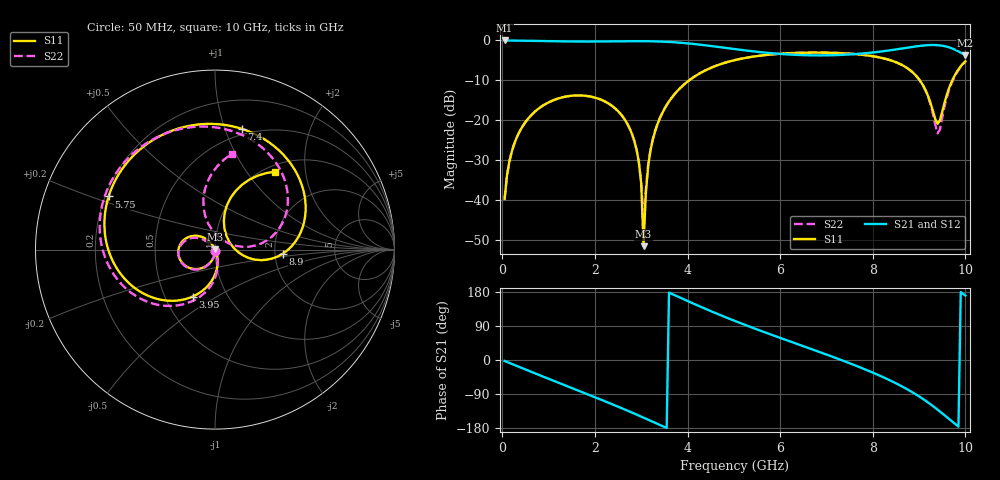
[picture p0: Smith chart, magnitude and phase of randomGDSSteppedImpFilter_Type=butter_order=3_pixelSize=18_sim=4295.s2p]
! freq	dB(S11)	phase(S11)	dB(S12)	phase(S12)
!  dB(S21)	phase(S21)	dB(S22)	phase(S22)
!S-par simulation data
#  GHz  S  DB  R 50
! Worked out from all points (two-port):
!   200 points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, 50 MHz to 10 GHz, reference 50 ohm
!   highest |S21| = -0.01 dB at 50 MHz (marker M1); lowest = -3.8 dB at 10 GHz (marker M2)
!   |S21| within 3 dB of the highest: start of sweep to 5.637 GHz; 8.008 GHz to 9.894 GHz (1.886 GHz wide, 21.1 % of centre)
!   lowest |S11| = -51.4 dB at 3.05 GHz (marker M3), VSWR 1.01, Z = 50.1 + j0.255 ohm
!   |S11| at or under -10 dB: start of sweep to 4.034 GHz; 9.015 GHz to 9.717 GHz (701.8 MHz wide, 7.49 % of centre)
!   |S22| runs from -44.8 to -3.0 dB; largest |S21 - S12| = 0
!   S11 on the Smith chart (normalised r, x): 50 MHz: 1.00, -0.02; 3.95 GHz: 0.69, -0.39; 5.75 GHz: 0.21, +0.23; 7.4 GHz: 0.45, +1.14; 8.9 GHz: 2.22, -0.11; 10 GHz: 1.11, +1.38
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0.05  -39.62 -88.6  -0.01 -2.6  -0.01 -2.6  -39.62 -88.6
0.2  -28.00 -99.5  -0.03 -10.1  -0.03 -10.1  -28.00 -99.1
0.5  -20.42 -115.8  -0.08 -25.1  -0.08 -25.1  -20.42 -114.9
1.75  -13.79 -178.3  -0.28 -86.0  -0.28 -86.0  -13.79 -175.1
2.4  -16.64 148.9  -0.23 -118.1  -0.23 -118.1  -16.65 154.2
2.8  -23.38 127.5  -0.19 -138.7  -0.19 -138.7  -23.40 136.5
3  -35.82 114.2  -0.19 -149.4  -0.19 -149.4  -35.61 140.3
3.05  -51.44 71.7  -0.19 -152.1  -0.19 -152.1  -44.84 -167.9
3.1  -38.21 -63.7  -0.20 -154.8  -0.20 -154.8  -37.22 -86.1
3.15  -31.36 -68.8  -0.21 -157.5  -0.21 -157.5  -31.05 -77.1
3.4  -19.52 -84.2  -0.28 -171.2  -0.28 -171.2  -19.47 -82.4
3.95  -10.77 -115.4  -0.68 158.5  -0.68 158.5  -10.75 -110.1
5.05  -4.85 -173.4  -2.22 101.7  -2.22 101.7  -4.83 -164.2
5.75  -3.58 153.4  -3.14 69.4  -3.14 69.4  -3.57 165.1
6.7  -3.04 110.2  -3.74 27.7  -3.74 27.7  -3.04 125.8
7.4  -3.23 77.5  -3.58 -3.8  -3.58 -3.8  -3.23 96.0
8.35  -4.85 28.5  -2.51 -52.5  -2.51 -52.5  -4.85 50.2
8.9  -8.41 -3.3  -1.55 -88.4  -1.55 -88.4  -8.42 18.5
9.2  -14.09 -14.1  -1.17 -112.6  -1.17 -112.6  -14.27 4.9
9.4  -20.85 27.5  -1.19 -131.0  -1.19 -131.0  -23.25 47.3
9.7  -10.42 73.2  -1.95 -160.9  -1.95 -160.9  -10.78 103.0
10  -5.20 52.2  -3.76 170.0  -3.76 170.0  -5.34 80.1
